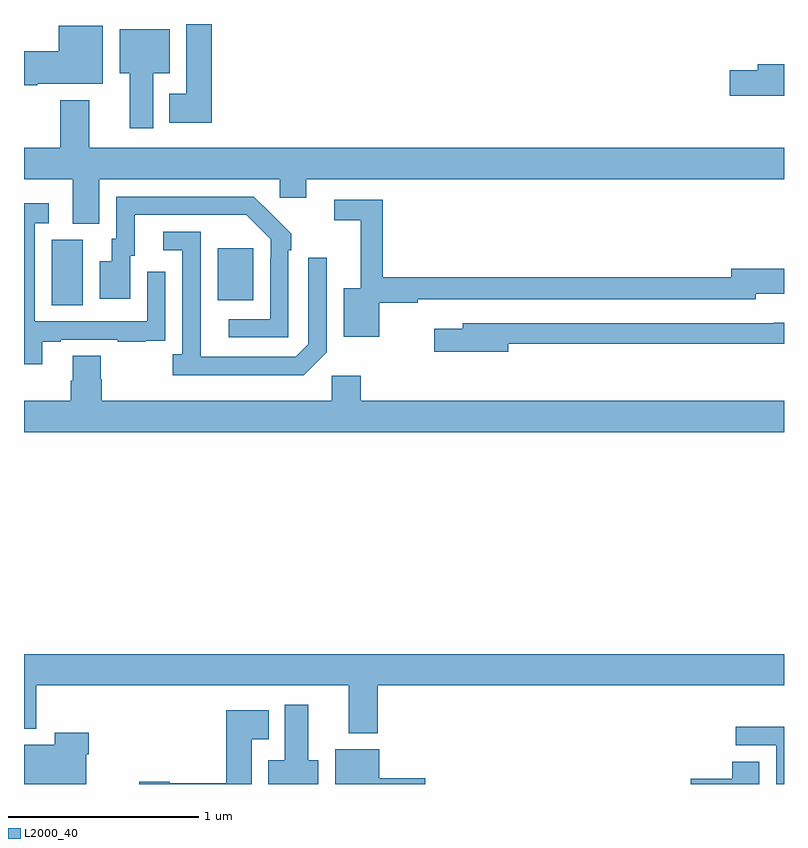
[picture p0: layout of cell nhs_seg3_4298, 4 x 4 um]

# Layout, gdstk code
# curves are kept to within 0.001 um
import gdstk
lib = gdstk.Library(unit=1e-6, precision=1e-09)
def R(c, l, rs):  # rectangles x0, y0, x1, y1
    for r in rs: c.add(gdstk.rectangle(r[:2], r[2:], *l))
def P(c, l, *ps):  # polygons
    for p in ps: c.add(gdstk.Polygon(p, *l))
L2000_40 = (2000, 40)

nhs_seg3_4298 = lib.new_cell('nhs_seg3_4298')
R(nhs_seg3_4298, L2000_40, [(339.146,698.92,339.31,699.264), (340.019,698.945,340.207,699.22)])
P(nhs_seg3_4298, L2000_40, [(339.989,700.4),(339.854,700.4),(339.854,700.033),(339.764,700.033),(339.764,699.881),(339.989,699.881)],
  [(339.07,700.085),(339.415,700.085),(339.415,700.39),(339.182,700.39),(339.182,700.256),(339,700.256),(339,700.078),(339.07,700.078)],
  [(339.679,700.142),(339.766,700.142),(339.766,700.372),(339.503,700.372),(339.503,700.142),(339.557,700.142),(339.557,699.852),(339.679,699.852)],
  [(343,700.187),(342.863,700.187),(342.863,700.157),(342.714,700.157),(342.714,700.022),(343,700.022)],
  [(339.397,699.584),(340.347,699.584),(340.347,699.486),(340.486,699.486),(340.486,699.584),(343,699.584),(343,699.748),(339.343,699.748),(339.343,700),(339.191,700),(339.191,699.748),(339,699.748),(339,699.584),(339.257,699.584),(339.257,699.349),(339.397,699.349)],
  [(340.392,699.209),(340.407,699.209),(340.407,699.297),(340.21,699.492),(339.486,699.492),(339.486,699.27),(339.461,699.27),(339.461,699.151),(339.398,699.151),(339.398,698.955),(339.559,698.955),(339.559,699.18),(339.583,699.18),(339.583,699.396),(340.171,699.396),(340.299,699.267),(340.299,699.167),(340.296,699.167),(340.296,698.847),(340.077,698.847),(340.077,698.751),(340.392,698.751)],
  [(340.869,698.932),(341.072,698.932),(341.072,698.952),(342.85,698.952),(342.85,698.981),(343,698.981),(343,699.111),(342.722,699.111),(342.722,699.068),(340.889,699.068),(340.889,699.474),(340.632,699.474),(340.632,699.366),(340.772,699.366),(340.772,699.01),(340.682,699.01),(340.682,698.753),(340.869,698.753)],
  [(339.097,698.727),(339.193,698.727),(339.193,698.739),(339.493,698.739),(339.493,698.727),(339.641,698.727),(339.641,698.733),(339.743,698.733),(339.743,698.842),(339.744,698.842),(339.744,699.097),(339.648,699.097),(339.648,698.835),(339.057,698.835),(339.057,699.351),(339.13,699.351),(339.13,699.457),(339,699.457),(339,698.61),(339.097,698.61)],
  [(340.593,698.673),(340.593,699.169),(340.497,699.169),(340.497,698.715),(340.431,698.649),(339.931,698.649),(339.93,699.306),(339.732,699.306),(339.732,699.21),(339.834,699.21),(339.834,698.662),(339.783,698.662),(339.783,698.552),(340.472,698.552)],
  [(341.548,698.718),(343,698.718),(343,698.827),(342.946,698.827),(342.946,698.826),(341.309,698.826),(341.309,698.797),(341.16,698.797),(341.16,698.675),(341.548,698.675)],
  [(339.405,698.529),(339.405,698.654),(339.257,698.654),(339.257,698.522),(339.245,698.522),(339.245,698.416),(339,698.416),(339,698.252),(343,698.252),(343,698.416),(340.772,698.416),(340.772,698.548),(340.62,698.548),(340.62,698.416),(339.41,698.416),(339.41,698.529)],
  [(340.862,696.92),(343,696.92),(343,697.084),(339,697.084),(339,696.692),(339.065,696.692),(339.065,696.92),(340.709,696.92),(340.709,696.668),(340.862,696.668)],
  [(340.549,696.526),(340.495,696.526),(340.495,696.817),(340.373,696.817),(340.373,696.526),(340.286,696.526),(340.286,696.4),(340.549,696.4)],
  [(340.198,696.635),(340.288,696.635),(340.288,696.787),(340.064,696.787),(340.064,696.404),(339.768,696.404),(339.768,696.412),(339.606,696.412),(339.606,696.4),(340.198,696.4)],
  [(343,696.702),(342.747,696.702),(342.747,696.603),(342.96,696.603),(342.96,696.4),(343,696.4)],
  [(339.328,696.557),(339.341,696.557),(339.341,696.67),(339.163,696.67),(339.163,696.607),(339,696.607),(339,696.4),(339.328,696.4)],
  [(341.113,696.431),(340.87,696.431),(340.87,696.583),(340.637,696.583),(340.637,696.4),(341.113,696.4)],
  [(342.871,696.518),(342.728,696.518),(342.728,696.428),(342.51,696.428),(342.51,696.4),(342.871,696.4)])

lib.write_gds('nhs_seg3_4298.gds')
